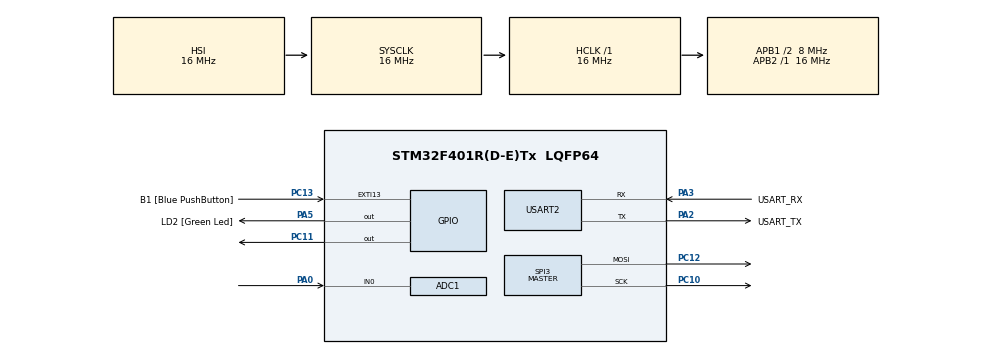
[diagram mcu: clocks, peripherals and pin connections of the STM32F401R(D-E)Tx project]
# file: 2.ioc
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ADC1.Channel-0\#ChannelRegularConversion=ADC_CHANNEL_0
ADC1.NbrOfConversionFlag=1
ADC1.Rank-0\#ChannelRegularConversion=1
ADC1.SamplingTime-0\#ChannelRegularConversion=ADC_SAMPLETIME_3CYCLES
ADC1.master=1
Mcu.Family=STM32F4
Mcu.Name=STM32F401R(D-E)Tx
Mcu.Package=LQFP64
NVIC.PriorityGroup=NVIC_PRIORITYGROUP_0
NVIC.SPI3_IRQn=true\:0\:0\:false\:false\:true\:true\:true\:true
PA0-WKUP.Signal=ADCx_IN0
PA13.GPIO_Label=TMS
PA13.Mode=Serial_Wire
PA13.Signal=SYS_JTMS-SWDIO
PA14.GPIO_Label=TCK
PA14.Mode=Serial_Wire
PA14.Signal=SYS_JTCK-SWCLK
PA2.GPIO_Label=USART_TX
PA2.GPIO_Mode=GPIO_MODE_AF_PP
PA2.GPIO_PuPd=GPIO_NOPULL
PA2.GPIO_Speed=GPIO_SPEED_FREQ_LOW
PA2.Mode=Asynchronous
PA2.Signal=USART2_TX
PA3.GPIO_Label=USART_RX
PA3.GPIO_Mode=GPIO_MODE_AF_PP
PA3.GPIO_PuPd=GPIO_NOPULL
PA3.GPIO_Speed=GPIO_SPEED_FREQ_LOW
PA3.Mode=Asynchronous
PA3.Signal=USART2_RX
PA5.GPIO_Label=LD2 [Green Led]
PA5.GPIO_Mode=GPIO_MODE_OUTPUT_PP
PA5.GPIO_PuPd=GPIO_NOPULL
PA5.GPIO_Speed=GPIO_SPEED_FREQ_LOW
PA5.Signal=GPIO_Output
PB3.GPIO_Label=SWO
PB3.Signal=SYS_JTDO-SWO
PC10.Mode=TX_Only_Simplex_Unidirect_Master
PC10.Signal=SPI3_SCK
PC11.GPIO_PuPd=GPIO_PULLDOWN
PC11.Signal=GPIO_Output
PC12.Mode=TX_Only_Simplex_Unidirect_Master
PC12.Signal=SPI3_MOSI
PC13-ANTI_TAMP.GPIO_Label=B1 [Blue PushButton]
PC13-ANTI_TAMP.GPIO_ModeDefaultEXTI=GPIO_MODE_IT_FALLING
PC13-ANTI_TAMP.GPIO_PuPd=GPIO_NOPULL
PC13-ANTI_TAMP.Signal=GPXTI13
PC14-OSC32_IN.Mode=LSE-External-Oscillator
PC14-OSC32_IN.Signal=RCC_OSC32_IN
PC15-OSC32_OUT.Mode=LSE-External-Oscillator
PC15-OSC32_OUT.Signal=RCC_OSC32_OUT
PH0\ -\ OSC_IN.Mode=HSE-External-Clock-Source
PH0\ -\ OSC_IN.Signal=RCC_OSC_IN
PH1\ -\ OSC_OUT.Mode=HSE-External-Clock-Source
PH1\ -\ OSC_OUT.Signal=RCC_OSC_OUT
ProjectManager.HeapSize=0x200
ProjectManager.StackSize=0x400
ProjectManager.TargetToolchain=MDK-ARM V5.32
RCC.48MHZClocksFreq_Value=48000000
RCC.AHBFreq_Value=16000000
RCC.APB1CLKDivider=RCC_HCLK_DIV2
RCC.APB1Freq_Value=8000000
RCC.APB1TimFreq_Value=16000000
RCC.APB2Freq_Value=16000000
RCC.APB2TimFreq_Value=16000000
RCC.CortexFreq_Value=16000000
RCC.HCLKFreq_Value=16000000
RCC.HSE_VALUE=8000000
RCC.HSI_VALUE=16000000
RCC.PLLN=336
RCC.PLLP=RCC_PLLP_DIV4
RCC.PLLQ=7
RCC.SYSCLKFreq_VALUE=16000000
RCC.VCOOutputFreq_Value=336000000
SH.ADCx_IN0.0=ADC1_IN0,IN0
SPI3.Direction=SPI_DIRECTION_2LINES
SPI3.Mode=SPI_MODE_MASTER
SPI3.VirtualType=VM_MASTER
TIM3.Period=99
TIM3.Prescaler=15999
USART2.VirtualMode=VM_ASYNC
VP_TIM3_VS_ClockSourceINT.Mode=Internal
board=NUCLEO-F401RE

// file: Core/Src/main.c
/* USER CODE BEGIN Header */
/**
  ******************************************************************************
  * @file           : main.c
  * @brief          : Main program body
  ******************************************************************************
  * @attention
  *
  * Copyright (c) 2022 STMicroelectronics.
  * All rights reserved.
  *
  * This software is licensed under terms that can be found in the LICENSE file
  * in the root directory of this software component.
  * If no LICENSE file comes with this software, it is provided AS-IS.
  *
  ******************************************************************************
  */
/* USER CODE END Header */
#include "main.h"

/* USER CODE BEGIN PTD */
	float voltage;
/* USER CODE END PTD */

 ADC_HandleTypeDef hadc1;

SPI_HandleTypeDef hspi3;

TIM_HandleTypeDef htim3;

UART_HandleTypeDef huart2;

void SystemClock_Config(void);
static void MX_GPIO_Init(void);
static void MX_ADC1_Init(void);
static void MX_SPI3_Init(void);
static void MX_USART2_UART_Init(void);
static void MX_TIM3_Init(void);

/* USER CODE BEGIN 0 */
void transmit(uint8_t add,uint8_t data){
uint8_t tx_buffer[0];
HAL_GPIO_WritePin(GPIOC,GPIO_PIN_11,0);
tx_buffer[0]=add;
HAL_SPI_Transmit(&hspi3,tx_buffer,1,0xffff);
tx_buffer[0]=data;
HAL_SPI_Transmit(&hspi3,tx_buffer,1,0xffff);
HAL_GPIO_WritePin(GPIOC,GPIO_PIN_11,1);
}

void max7219_init(){
	transmit(0x09,0xff); // ENABLE ENCODER FOR ALL 7SEG
	transmit(0x0A,0x0F); // MAX INTENSITY
	transmit(0x0B,0x02); // SCAN 3 7SEG
	transmit(0x0C,0x01); // TURN ON
	transmit(0x0f,0x0); // NORMAL OPERATION
}
/* USER CODE END 0 */

int main(void)
{

  /* MCU Configuration--------------------------------------------------------*/

  /* Reset of all peripherals, Initializes the Flash interface and the Systick. */
  HAL_Init();

  /* Configure the system clock */
  SystemClock_Config();

  /* Initialize all configured peripherals */
  MX_GPIO_Init();
  MX_ADC1_Init();
  MX_SPI3_Init();
  MX_USART2_UART_Init();
  MX_TIM3_Init();
  /* USER CODE BEGIN 2 */
	HAL_Delay(100);
	max7219_init();

  /* USER CODE END 2 */

  /* Infinite loop */
  /* USER CODE BEGIN WHILE */
  while (1)
  {
		HAL_ADC_Start(&hadc1);
		HAL_ADC_PollForConversion(&hadc1,0xffff);
		voltage = HAL_ADC_GetValue(&hadc1);
		int analog= (voltage/4095)*999;
for(int i=0;i<3;i++){
		int	j=i+1;
		transmit(j,analog%10);
		analog/=10;
}
    /* USER CODE END WHILE */

}
	}

void SystemClock_Config(void)
{
  RCC_OscInitTypeDef RCC_OscInitStruct = {0};
  RCC_ClkInitTypeDef RCC_ClkInitStruct = {0};

  /** Configure the main internal regulator output voltage
  */
  __HAL_RCC_PWR_CLK_ENABLE();
  __HAL_PWR_VOLTAGESCALING_CONFIG(PWR_REGULATOR_VOLTAGE_SCALE2);

  /** Initializes the RCC Oscillators according to the specified parameters
  * in the RCC_OscInitTypeDef structure.
  */
  RCC_OscInitStruct.OscillatorType = RCC_OSCILLATORTYPE_HSI;
  RCC_OscInitStruct.HSIState = RCC_HSI_ON;
  RCC_OscInitStruct.HSICalibrationValue = RCC_HSICALIBRATION_DEFAULT;
  RCC_OscInitStruct.PLL.PLLState = RCC_PLL_NONE;
  if (HAL_RCC_OscConfig(&RCC_OscInitStruct) != HAL_OK)
  {
    Error_Handler();
  }

  /** Initializes the CPU, AHB and APB buses clocks
  */
  RCC_ClkInitStruct.ClockType = RCC_CLOCKTYPE_HCLK|RCC_CLOCKTYPE_SYSCLK
                              |RCC_CLOCKTYPE_PCLK1|RCC_CLOCKTYPE_PCLK2;
  RCC_ClkInitStruct.SYSCLKSource = RCC_SYSCLKSOURCE_HSI;
  RCC_ClkInitStruct.AHBCLKDivider = RCC_SYSCLK_DIV1;
  RCC_ClkInitStruct.APB1CLKDivider = RCC_HCLK_DIV2;
  RCC_ClkInitStruct.APB2CLKDivider = RCC_HCLK_DIV1;

  if (HAL_RCC_ClockConfig(&RCC_ClkInitStruct, FLASH_LATENCY_0) != HAL_OK)
  {
    Error_Handler();
  }
}

static void MX_ADC1_Init(void)
{

  ADC_ChannelConfTypeDef sConfig = {0};

  /** Configure the global features of the ADC (Clock, Resolution, Data Alignment and number of conversion)
  */
  hadc1.Instance = ADC1;
  hadc1.Init.ClockPrescaler = ADC_CLOCK_SYNC_PCLK_DIV2;
  hadc1.Init.Resolution = ADC_RESOLUTION_12B;
  hadc1.Init.ScanConvMode = DISABLE;
  hadc1.Init.ContinuousConvMode = DISABLE;
  hadc1.Init.DiscontinuousConvMode = DISABLE;
  hadc1.Init.ExternalTrigConvEdge = ADC_EXTERNALTRIGCONVEDGE_NONE;
  hadc1.Init.ExternalTrigConv = ADC_SOFTWARE_START;
  hadc1.Init.DataAlign = ADC_DATAALIGN_RIGHT;
  hadc1.Init.NbrOfConversion = 1;
  hadc1.Init.DMAContinuousRequests = DISABLE;
  hadc1.Init.EOCSelection = ADC_EOC_SINGLE_CONV;
  if (HAL_ADC_Init(&hadc1) != HAL_OK)
  {
    Error_Handler();
  }

  /** Configure for the selected ADC regular channel its corresponding rank in the sequencer and its sample time.
  */
  sConfig.Channel = ADC_CHANNEL_0;
  sConfig.Rank = 1;
  sConfig.SamplingTime = ADC_SAMPLETIME_3CYCLES;
  if (HAL_ADC_ConfigChannel(&hadc1, &sConfig) != HAL_OK)
  {
    Error_Handler();
  }

}

static void MX_SPI3_Init(void)
{

  /* SPI3 parameter configuration*/
  hspi3.Instance = SPI3;
  hspi3.Init.Mode = SPI_MODE_MASTER;
  hspi3.Init.Direction = SPI_DIRECTION_2LINES;
  hspi3.Init.DataSize = SPI_DATASIZE_8BIT;
  hspi3.Init.CLKPolarity = SPI_POLARITY_LOW;
  hspi3.Init.CLKPhase = SPI_PHASE_1EDGE;
  hspi3.Init.NSS = SPI_NSS_SOFT;
  hspi3.Init.BaudRatePrescaler = SPI_BAUDRATEPRESCALER_2;
  hspi3.Init.FirstBit = SPI_FIRSTBIT_MSB;
  hspi3.Init.TIMode = SPI_TIMODE_DISABLE;
  hspi3.Init.CRCCalculation = SPI_CRCCALCULATION_DISABLE;
  hspi3.Init.CRCPolynomial = 10;
  if (HAL_SPI_Init(&hspi3) != HAL_OK)
  {
    Error_Handler();
  }

}

static void MX_TIM3_Init(void)
{

  TIM_ClockConfigTypeDef sClockSourceConfig = {0};
  TIM_MasterConfigTypeDef sMasterConfig = {0};

  htim3.Instance = TIM3;
  htim3.Init.Prescaler = 15999;
  htim3.Init.CounterMode = TIM_COUNTERMODE_UP;
  htim3.Init.Period = 99;
  htim3.Init.ClockDivision = TIM_CLOCKDIVISION_DIV1;
  htim3.Init.AutoReloadPreload = TIM_AUTORELOAD_PRELOAD_DISABLE;
  if (HAL_TIM_Base_Init(&htim3) != HAL_OK)
  {
    Error_Handler();
  }
  sClockSourceConfig.ClockSource = TIM_CLOCKSOURCE_INTERNAL;
  if (HAL_TIM_ConfigClockSource(&htim3, &sClockSourceConfig) != HAL_OK)
  {
    Error_Handler();
  }
  sMasterConfig.MasterOutputTrigger = TIM_TRGO_RESET;
  sMasterConfig.MasterSlaveMode = TIM_MASTERSLAVEMODE_DISABLE;
  if (HAL_TIMEx_MasterConfigSynchronization(&htim3, &sMasterConfig) != HAL_OK)
  {
    Error_Handler();
  }

}

static void MX_USART2_UART_Init(void)
{

  huart2.Instance = USART2;
  huart2.Init.BaudRate = 115200;
  huart2.Init.WordLength = UART_WORDLENGTH_8B;
  huart2.Init.StopBits = UART_STOPBITS_1;
  huart2.Init.Parity = UART_PARITY_NONE;
  huart2.Init.Mode = UART_MODE_TX_RX;
  huart2.Init.HwFlowCtl = UART_HWCONTROL_NONE;
  huart2.Init.OverSampling = UART_OVERSAMPLING_16;
  if (HAL_UART_Init(&huart2) != HAL_OK)
  {
    Error_Handler();
  }

}

static void MX_GPIO_Init(void)
{
  GPIO_InitTypeDef GPIO_InitStruct = {0};

  /* GPIO Ports Clock Enable */
  __HAL_RCC_GPIOC_CLK_ENABLE();
  __HAL_RCC_GPIOH_CLK_ENABLE();
  __HAL_RCC_GPIOA_CLK_ENABLE();
  __HAL_RCC_GPIOB_CLK_ENABLE();

  /*Configure GPIO pin Output Level */
  HAL_GPIO_WritePin(LD2_GPIO_Port, LD2_Pin, GPIO_PIN_RESET);

  /*Configure GPIO pin Output Level */
  HAL_GPIO_WritePin(GPIOC, GPIO_PIN_11, GPIO_PIN_RESET);

  /*Configure GPIO pin : B1_Pin */
  GPIO_InitStruct.Pin = B1_Pin;
  GPIO_InitStruct.Mode = GPIO_MODE_IT_FALLING;
  GPIO_InitStruct.Pull = GPIO_NOPULL;
  HAL_GPIO_Init(B1_GPIO_Port, &GPIO_InitStruct);

  /*Configure GPIO pin : LD2_Pin */
  GPIO_InitStruct.Pin = LD2_Pin;
  GPIO_InitStruct.Mode = GPIO_MODE_OUTPUT_PP;
  GPIO_InitStruct.Pull = GPIO_NOPULL;
  GPIO_InitStruct.Speed = GPIO_SPEED_FREQ_LOW;
  HAL_GPIO_Init(LD2_GPIO_Port, &GPIO_InitStruct);

  /*Configure GPIO pin : PC11 */
  GPIO_InitStruct.Pin = GPIO_PIN_11;
  GPIO_InitStruct.Mode = GPIO_MODE_OUTPUT_PP;
  GPIO_InitStruct.Pull = GPIO_PULLDOWN;
  GPIO_InitStruct.Speed = GPIO_SPEED_FREQ_LOW;
  HAL_GPIO_Init(GPIOC, &GPIO_InitStruct);

}

void Error_Handler(void)
{
  __disable_irq();
  while (1)
  {
  }
}
